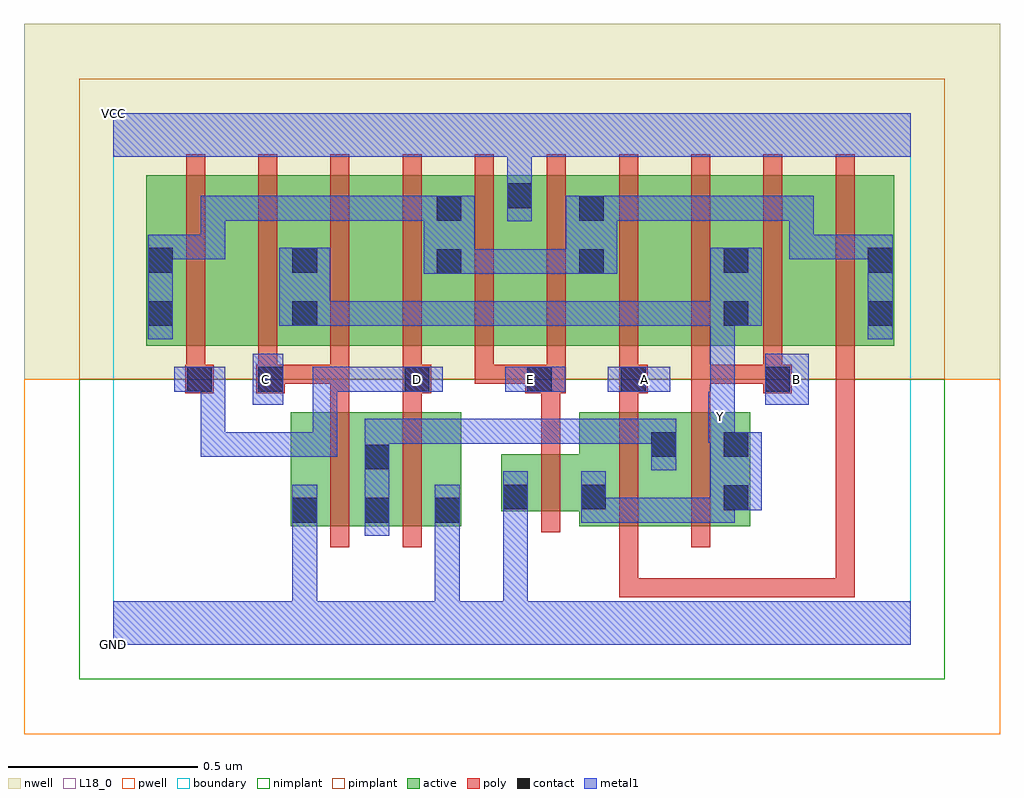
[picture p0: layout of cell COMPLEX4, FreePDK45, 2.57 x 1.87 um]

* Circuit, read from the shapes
.subckt COMPLEX4 A B C D E GND VCC Y
M1 n1 C GND VSUBS nfet w=0.3u l=0.05u
M2 GND D n1 VSUBS nfet w=0.3u l=0.05u
M3 Y E GND VSUBS nfet w=0.15u l=0.05u
M4 n1 A Y VSUBS nfet w=0.3u l=0.05u
M5 Y B n1 VSUBS nfet w=0.3u l=0.05u
M6 n2 D n3 n4 pfet w=0.45u l=0.05u
M7 Y C n2 n4 pfet w=0.45u l=0.05u
M8 n5 C Y n4 pfet w=0.45u l=0.05u
M9 n3 D n5 n4 pfet w=0.45u l=0.05u
M10 VCC E n3 n4 pfet w=0.45u l=0.05u m=2
M11 n6 A n3 n4 pfet w=0.45u l=0.05u
M12 Y B n6 n4 pfet w=0.45u l=0.05u
M13 n7 B Y n4 pfet w=0.45u l=0.05u
M14 n3 A n7 n4 pfet w=0.45u l=0.05u
.ends

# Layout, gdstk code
import gdstk
lib = gdstk.Library(unit=1e-6, precision=1e-09)
def R(c, l, rs):  # rectangles x0, y0, x1, y1
    for r in rs: c.add(gdstk.rectangle(r[:2], r[2:], *l))
def A(c, l, x, y, w, h, nx, ny, dx, dy):  # array of equal rectangles
    R(c, l, [(x+i*dx, y+j*dy, x+i*dx+w, y+j*dy+h) for i in range(nx) for j in range(ny)])
active = (1, 0)
pwell = (2, 0)
nwell = (3, 0)
nimplant = (4, 0)
pimplant = (5, 0)
poly = (9, 0)
contact = (10, 0)
metal1 = (11, 0)
L18_0 = (18, 0)
boundary = (235, 0)

complex4 = lib.new_cell('COMPLEX4')
R(complex4, active, [(0.467,0.312,0.732,0.612), (0.467,0.312,0.542,0.612), (0.657,0.312,0.917,0.612), (0.657,0.312,0.732,0.532), (0.842,0.312,0.917,0.612), (1.227,0.312,1.487,0.612), (1.227,0.312,1.302,0.427), (1.412,0.312,1.677,0.612), (1.412,0.33,1.487,0.565), (1.602,0.345,1.677,0.612), (1.022,0.352,1.302,0.502), (1.022,0.352,1.097,0.502), (0.087,0.787,0.312,1.237), (0.087,0.787,0.192,1.2), (0.312,0.787,0.542,1.237), (0.467,0.787,0.692,1.237), (0.467,0.787,0.542,1.07), (0.692,0.787,0.922,1.237), (0.847,0.787,1.107,1.237), (1.032,0.787,1.297,1.237), (1.222,0.787,1.452,1.237), (1.452,0.787,1.677,1.237), (1.602,0.787,1.832,1.237), (1.602,0.787,1.677,1.07), (1.832,0.787,2.057,1.237), (1.982,0.787,2.057,1.2), (1.032,0.852,1.107,1.22), (0.847,0.857,0.922,1.2), (1.222,0.857,1.297,1.2)])
R(complex4, pwell, [(-0.235,-0.235,2.335,0.7)])
R(complex4, nwell, [(-0.235,0.7,2.335,1.635)])
R(complex4, nimplant, [(-0.09,-0.09,2.19,0.7)])
R(complex4, pimplant, [(-0.09,0.7,2.19,1.49)])
A(complex4, poly, 0.192, 0.687, 0.05, 0.095, 9, 1, 0.19, 0)
A(complex4, poly, 0.192, 0.732, 0.05, 0.56, 10, 1, 0.19, 0)
R(complex4, poly, [(1.332,0.125,1.382,0.175), (1.332,0.125,1.382,0.175), (1.332,0.125,1.382,0.175), (1.332,0.125,1.63,0.175), (1.332,0.125,1.382,0.307), (1.58,0.125,1.63,0.175), (1.58,0.125,1.82,0.175), (1.77,0.125,1.82,0.175), (1.77,0.125,1.82,0.175), (1.77,0.125,1.82,0.175), (1.77,0.125,1.82,0.175), (1.77,0.125,1.82,0.175), (1.77,0.125,1.952,0.175), (1.902,0.125,1.952,0.782), (1.902,0.125,1.952,0.175), (1.902,0.125,1.952,0.175), (1.902,0.125,1.952,0.175), (1.902,0.125,1.952,0.175), (1.902,0.125,1.952,0.175), (1.902,0.125,1.952,0.175), (1.902,0.125,1.952,0.175), (1.902,0.125,1.952,0.175), (1.902,0.125,1.952,0.175), (0.572,0.257,0.622,0.667), (0.762,0.257,0.812,0.667), (1.332,0.257,1.382,0.667), (1.522,0.257,1.572,0.667), (1.127,0.297,1.177,0.557), (1.127,0.507,1.177,0.712), (0.572,0.617,0.622,0.737), (0.762,0.617,0.812,0.712), (1.332,0.617,1.382,0.712), (1.522,0.617,1.572,0.737), (0.19,0.662,0.265,0.737), (0.377,0.662,0.452,0.737), (0.762,0.662,0.837,0.737), (1.085,0.662,1.192,0.737), (1.332,0.662,1.407,0.737), (1.712,0.662,1.787,0.737), (0.402,0.687,0.622,0.737), (0.572,0.687,0.622,0.737), (0.572,0.687,0.622,0.737), (0.572,0.687,0.622,0.737), (0.952,0.687,1.002,0.737), (0.952,0.687,1.002,0.737), (0.952,0.687,1.002,0.737), (0.952,0.687,1.135,0.737), (1.522,0.687,1.572,0.737), (1.522,0.687,1.572,0.737), (1.522,0.687,1.572,0.737), (1.522,0.687,1.762,0.737)])
R(complex4, contact, [(0.472,0.322,0.537,0.387), (0.662,0.322,0.727,0.387), (0.847,0.322,0.912,0.387), (1.607,0.355,1.672,0.42), (1.027,0.357,1.092,0.422), (1.232,0.357,1.297,0.422), (0.662,0.462,0.727,0.527), (1.417,0.495,1.482,0.56), (1.607,0.495,1.672,0.56), (0.195,0.667,0.26,0.732), (0.382,0.667,0.447,0.732), (0.767,0.667,0.832,0.732), (1.09,0.667,1.155,0.732), (1.337,0.667,1.402,0.732), (1.717,0.667,1.782,0.732), (0.092,0.84,0.157,0.905), (0.472,0.84,0.537,0.905), (1.607,0.84,1.672,0.905), (1.987,0.84,2.052,0.905), (0.852,0.977,0.917,1.042), (1.227,0.977,1.292,1.042), (0.092,0.98,0.157,1.045), (0.472,0.98,0.537,1.045), (1.607,0.98,1.672,1.045), (1.987,0.98,2.052,1.045), (0.852,1.117,0.917,1.182), (1.227,1.117,1.292,1.182), (1.037,1.15,1.102,1.215)])
R(complex4, metal1, [(0,0,2.1,0.115), (0.472,0.05,0.537,0.352), (0.847,0.05,0.912,0.352), (1.027,0.05,1.092,0.115), (1.027,0.05,1.092,0.115), (1.027,0.05,1.092,0.387), (0.472,0.287,0.537,0.352), (0.472,0.287,0.537,0.352), (0.472,0.287,0.537,0.352), (0.472,0.287,0.537,0.352), (0.472,0.287,0.537,0.422), (0.662,0.287,0.727,0.562), (0.847,0.287,0.912,0.352), (0.847,0.287,0.912,0.352), (0.847,0.287,0.912,0.352), (0.847,0.287,0.912,0.352), (0.847,0.287,0.912,0.422), (1.027,0.322,1.092,0.387), (1.027,0.322,1.092,0.387), (1.027,0.322,1.092,0.387), (1.027,0.322,1.092,0.387), (1.027,0.322,1.092,0.457), (1.232,0.322,1.297,0.457), (1.232,0.322,1.495,0.387), (1.43,0.322,1.495,0.387), (1.43,0.322,1.495,0.387), (1.43,0.322,1.495,0.387), (1.43,0.322,1.637,0.387), (1.572,0.322,1.637,0.387), (1.572,0.322,1.637,0.387), (1.572,0.322,1.637,0.387), (1.572,0.322,1.637,0.42), (1.572,0.355,1.707,0.56), (1.417,0.46,1.482,0.595), (0.23,0.495,0.295,0.56), (0.23,0.495,0.432,0.56), (0.23,0.495,0.295,0.732), (0.367,0.495,0.432,0.56), (0.367,0.495,0.59,0.56), (0.525,0.495,0.59,0.56), (0.525,0.495,0.59,0.732), (1.572,0.495,1.637,0.597), (0.662,0.497,0.727,0.562), (0.662,0.497,0.727,0.595), (0.662,0.53,0.907,0.595), (0.842,0.53,0.907,0.595), (0.842,0.53,0.907,0.595), (0.842,0.53,0.907,0.595), (0.842,0.53,1.12,0.595), (1.055,0.53,1.12,0.595), (1.055,0.53,1.12,0.595), (1.055,0.53,1.12,0.595), (1.055,0.53,1.327,0.595), (1.262,0.53,1.327,0.595), (1.262,0.53,1.482,0.595), (1.417,0.53,1.482,0.595), (1.417,0.53,1.482,0.595), (1.567,0.532,1.637,0.667), (1.572,0.602,1.637,0.905), (0.367,0.632,0.447,0.767), (1.717,0.632,1.832,0.767), (0.16,0.667,0.295,0.732), (0.23,0.667,0.295,0.732), (0.23,0.667,0.295,0.732), (0.525,0.667,0.59,0.732), (0.525,0.667,0.59,0.732), (0.525,0.667,0.59,0.732), (0.525,0.667,0.727,0.732), (0.662,0.667,0.727,0.732), (0.662,0.667,0.797,0.732), (0.732,0.667,0.867,0.732), (1.032,0.667,1.19,0.732), (1.302,0.667,1.467,0.732), (0.092,0.805,0.157,1.08), (1.987,0.805,2.052,1.08), (0.437,0.84,0.572,1.045), (0.507,0.84,0.585,0.905), (0.52,0.84,0.585,0.905), (0.52,0.84,0.745,0.905), (0.68,0.84,0.745,0.905), (0.68,0.84,0.745,0.905), (0.68,0.84,0.745,0.905), (0.68,0.84,0.882,0.905), (0.817,0.84,0.882,0.905), (0.817,0.84,0.882,0.905), (0.817,0.84,0.882,0.905), (0.817,0.84,1.12,0.905), (1.055,0.84,1.12,0.905), (1.055,0.84,1.12,0.905), (1.055,0.84,1.12,0.905), (1.055,0.84,1.257,0.905), (1.192,0.84,1.257,0.905), (1.192,0.84,1.257,0.905), (1.192,0.84,1.257,0.905), (1.192,0.84,1.465,0.905), (1.4,0.84,1.465,0.905), (1.4,0.84,1.637,0.905), (1.572,0.84,1.637,0.905), (1.572,0.84,1.637,0.905), (1.572,0.84,1.707,1.045), (0.817,0.977,0.952,1.182), (0.887,0.977,0.952,1.042), (0.887,0.977,0.952,1.042), (0.887,0.977,1.12,1.042), (1.055,0.977,1.12,1.042), (1.055,0.977,1.12,1.042), (1.055,0.977,1.12,1.042), (1.055,0.977,1.257,1.042), (1.192,0.977,1.327,1.182), (0.092,1.015,0.295,1.08), (0.23,1.015,0.295,1.08), (0.23,1.015,0.295,1.08), (0.23,1.015,0.295,1.08), (0.23,1.015,0.295,1.182), (1.78,1.015,1.845,1.08), (1.78,1.015,2.052,1.08), (1.78,1.015,1.845,1.182), (1.987,1.015,2.052,1.08), (1.987,1.015,2.052,1.08), (1.037,1.115,1.102,1.25), (0.23,1.117,0.295,1.182), (0.23,1.117,0.447,1.182), (0.382,1.117,0.447,1.182), (0.382,1.117,0.585,1.182), (0.52,1.117,0.585,1.182), (0.52,1.117,0.585,1.182), (0.52,1.117,0.585,1.182), (0.52,1.117,0.745,1.182), (0.68,1.117,0.745,1.182), (0.68,1.117,0.745,1.182), (0.68,1.117,0.745,1.182), (0.68,1.117,0.882,1.182), (1.262,1.117,1.465,1.182), (1.4,1.117,1.465,1.182), (1.4,1.117,1.465,1.182), (1.4,1.117,1.465,1.182), (1.4,1.117,1.645,1.182), (1.58,1.117,1.645,1.182), (1.58,1.117,1.645,1.182), (1.58,1.117,1.645,1.182), (1.58,1.117,1.845,1.182), (1.78,1.117,1.845,1.182), (1.78,1.117,1.845,1.182), (1.78,1.117,1.845,1.182), (1.037,1.185,1.102,1.35), (0,1.285,2.1,1.4)])
A(complex4, L18_0, 0.767, 0.667, 0.065, 0.065, 3, 1, 0.3, 0)
R(complex4, L18_0, [(0,0,2.1,0.115), (0.472,0.05,0.537,0.352), (0.847,0.05,0.912,0.352), (1.027,0.05,1.092,0.115), (1.027,0.05,1.092,0.115), (1.027,0.05,1.092,0.387), (0.472,0.287,0.537,0.352), (0.472,0.287,0.537,0.352), (0.472,0.287,0.537,0.352), (0.472,0.287,0.537,0.352), (0.472,0.287,0.537,0.422), (0.847,0.287,0.912,0.352), (0.847,0.287,0.912,0.352), (0.847,0.287,0.912,0.352), (0.847,0.287,0.912,0.352), (0.847,0.287,0.912,0.422), (1.027,0.322,1.092,0.387), (1.027,0.322,1.092,0.387), (1.027,0.322,1.092,0.387), (1.027,0.322,1.092,0.387), (1.027,0.322,1.092,0.457), (1.232,0.322,1.297,0.457), (1.232,0.322,1.495,0.387), (1.43,0.322,1.495,0.387), (1.43,0.322,1.495,0.387), (1.43,0.322,1.495,0.387), (1.43,0.322,1.637,0.387), (1.572,0.322,1.637,0.387), (1.572,0.322,1.637,0.387), (1.572,0.322,1.637,0.387), (1.572,0.322,1.637,0.42), (1.572,0.355,1.707,0.56), (0.23,0.495,0.295,0.56), (0.23,0.495,0.295,0.732), (0.23,0.495,0.432,0.56), (0.367,0.495,0.432,0.56), (0.367,0.495,0.59,0.56), (0.525,0.495,0.59,0.56), (0.525,0.495,0.59,0.732), (1.572,0.495,1.637,0.597), (1.567,0.532,1.637,0.667), (1.567,0.567,1.632,0.632), (1.572,0.602,1.637,0.905), (0.367,0.632,0.447,0.767), (1.717,0.632,1.832,0.767), (0.16,0.667,0.295,0.732), (0.23,0.667,0.295,0.732), (0.23,0.667,0.295,0.732), (0.367,0.667,0.432,0.732), (0.525,0.667,0.59,0.732), (0.525,0.667,0.59,0.732), (0.525,0.667,0.59,0.732), (0.525,0.667,0.727,0.732), (0.662,0.667,0.797,0.732), (0.662,0.667,0.727,0.732), (0.732,0.667,0.867,0.732), (1.032,0.667,1.19,0.732), (1.302,0.667,1.467,0.732), (1.767,0.667,1.832,0.732), (0.437,0.84,0.572,1.045), (0.507,0.84,0.585,0.905), (0.52,0.84,0.585,0.905), (0.52,0.84,0.745,0.905), (0.68,0.84,0.745,0.905), (0.68,0.84,0.745,0.905), (0.68,0.84,0.745,0.905), (0.68,0.84,0.882,0.905), (0.817,0.84,0.882,0.905), (0.817,0.84,0.882,0.905), (0.817,0.84,0.882,0.905), (0.817,0.84,1.12,0.905), (1.055,0.84,1.12,0.905), (1.055,0.84,1.12,0.905), (1.055,0.84,1.12,0.905), (1.055,0.84,1.257,0.905), (1.192,0.84,1.257,0.905), (1.192,0.84,1.257,0.905), (1.192,0.84,1.257,0.905), (1.192,0.84,1.465,0.905), (1.4,0.84,1.465,0.905), (1.4,0.84,1.637,0.905), (1.572,0.84,1.637,0.905), (1.572,0.84,1.637,0.905), (1.572,0.84,1.707,1.045), (1.037,1.115,1.102,1.25), (1.037,1.185,1.102,1.35), (0,1.285,2.1,1.4)])
R(complex4, boundary, [(0,0,2.1,1.4)])
complex4.add(gdstk.Label('A', (1.4,0.7), layer=11, texttype=0))
complex4.add(gdstk.Label('B', (1.8,0.7), layer=11, texttype=0))
complex4.add(gdstk.Label('C', (0.4,0.7), layer=11, texttype=0))
complex4.add(gdstk.Label('D', (0.8,0.7), layer=11, texttype=0))
complex4.add(gdstk.Label('E', (1.1,0.7), layer=11, texttype=0))
complex4.add(gdstk.Label('Y', (1.6,0.6), layer=11, texttype=0))
complex4.add(gdstk.Label('VCC', (0,1.4), layer=11, texttype=0))
complex4.add(gdstk.Label('GND', (0,0), layer=11, texttype=0))

lib.write_gds('COMPLEX4.gds')
